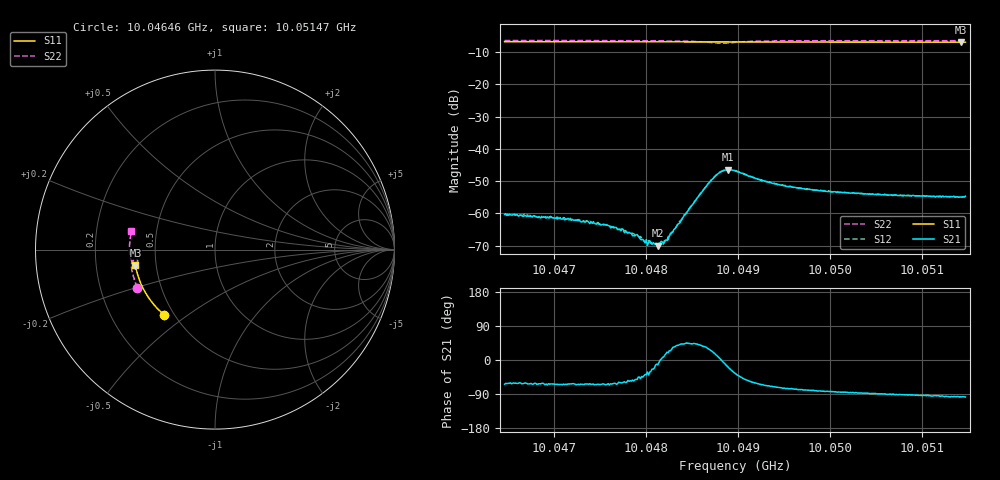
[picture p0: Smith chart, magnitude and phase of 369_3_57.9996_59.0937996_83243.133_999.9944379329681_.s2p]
#  HZ  S  RI  R  50.00
! Rohde & Schwarz Vector Network Analyzer
! Rohde-Schwarz,ZNB20-2Port,1311601062101988,3.16
! Created: UTC 3/21/2024, 1:06:51 AM
! freq[Hz]  re:S11  im:S11  re:S21  im:S21  re:S12  im:S12  re:S22  im:S22
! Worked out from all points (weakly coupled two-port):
!   401 points, 10.04646 GHz to 10.05147 GHz, reference 50 ohm
!   highest |S21| = -46.41 dB at 10.04889 GHz (marker M1); lowest = -70.0 dB at 10.04813 GHz (marker M2)
!   lowest |S11| = -6.9 dB at 10.05142 GHz (marker M3), VSWR 2.65, Z = 19 - j4.26 ohm
!   |S11| at or under -10 dB: nowhere
!   |S22| runs from -7.2 to -6.4 dB; largest |S21 - S12| = 0.00033
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1.0046462e10  -0.2819 -0.3645  0.000424 -0.000862  0.000527 -0.000831  -0.432 -0.2113
1.0046988e10  -0.3078 -0.3413  0.000383 -0.000764  0.000439 -0.000737  -0.4457 -0.1783
1.0047301e10  -0.3225 -0.3267  0.000323 -0.000664  0.000381 -0.000675  -0.4524 -0.1583
1.0047577e10  -0.3347 -0.3133  0.00029 -0.000592  0.000349 -0.000565  -0.4576 -0.1397
1.0047752e10  -0.3422 -0.3045  0.000292 -0.000478  0.000312 -0.00046  -0.4606 -0.1275
1.0047903e10  -0.3485 -0.2968  0.000292 -0.000368  0.000294 -0.00034  -0.4626 -0.1168
1.0048003e10  -0.3526 -0.2914  0.000297 -0.000238  0.000317 -0.000229  -0.4638 -0.1093
1.0048128e10  -0.3577 -0.285  0.000308 -6.94e-05  0.000314 -1.48e-05  -0.4648 -0.0995
1.0048141e10  -0.3581 -0.2845  0.000343 -3.82e-05  0.000333 2.9e-06  -0.465 -0.0987
1.0048166e10  -0.3591 -0.2831  0.000369 1.67e-05  0.000343 2.78e-05  -0.465 -0.0966
1.0048216e10  -0.361 -0.2805  0.000372 0.000109  0.000372 0.000147  -0.465 -0.0925
1.0048253e10  -0.3625 -0.2786  0.000404 0.000185  0.000382 0.000203  -0.4651 -0.0892
1.0048579e10  -0.3746 -0.2607  0.00147 0.00123  0.00139 0.00133  -0.4567 -0.0597
1.0048729e10  -0.3796 -0.2523  0.00325 0.00123  0.00319 0.00148  -0.4403 -0.0526
1.0048805e10  -0.3822 -0.2483  0.00434 0.000244  0.00437 0.000529  -0.4321 -0.0585
1.0048892e10  -0.3851 -0.2435  0.00453 -0.00155  0.00461 -0.00126  -0.4334 -0.0704
1.0048967e10  -0.3877 -0.2393  0.00374 -0.00265  0.00396 -0.00241  -0.4426 -0.0752
1.0049368e10  -0.4005 -0.2163  0.00104 -0.00276  0.00118 -0.00272  -0.4709 -0.0464
1.0049807e10  -0.4127 -0.1901  0.000393 -0.00229  0.000535 -0.00229  -0.4762 -0.0124
1.0050646e10  -0.4315 -0.1383  -7.52e-06 -0.00193  0.000114 -0.00188  -0.4744 0.0462
1.0051422e10  -0.4431 -0.089  -0.000215 -0.00179  -0.000113 -0.00179  -0.4662 0.0978
1.0051472e10  -0.4439 -0.0858  -0.000243 -0.00183  -0.000137 -0.00178  -0.4655 0.101
